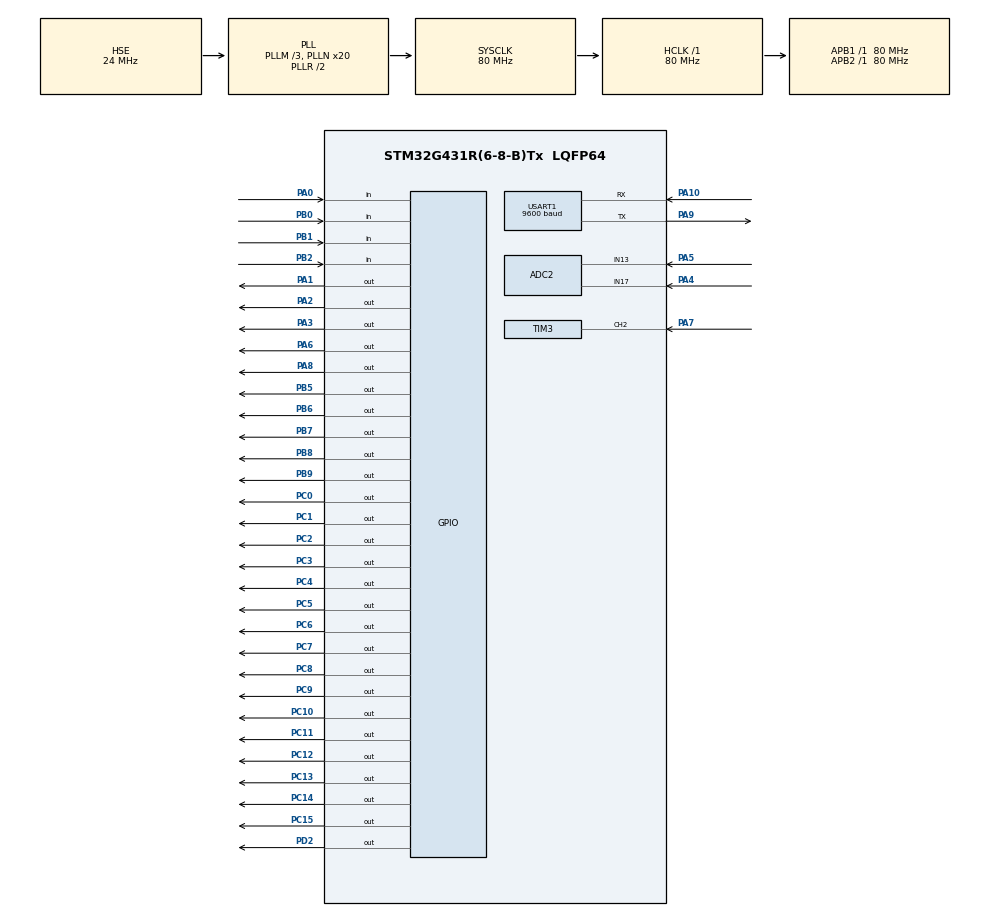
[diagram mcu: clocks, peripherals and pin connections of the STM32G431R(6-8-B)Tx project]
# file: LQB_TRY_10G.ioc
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ADC2.Channel-0\#ChannelRegularConversion=ADC_CHANNEL_17
ADC2.Channel-1\#ChannelRegularConversion=ADC_CHANNEL_13
ADC2.NbrOfConversion=2
ADC2.NbrOfConversionFlag=1
ADC2.OffsetNumber-0\#ChannelRegularConversion=ADC_OFFSET_NONE
ADC2.OffsetNumber-1\#ChannelRegularConversion=ADC_OFFSET_NONE
ADC2.Rank-0\#ChannelRegularConversion=1
ADC2.Rank-1\#ChannelRegularConversion=2
ADC2.SamplingTime-0\#ChannelRegularConversion=ADC_SAMPLETIME_640CYCLES_5
ADC2.SamplingTime-1\#ChannelRegularConversion=ADC_SAMPLETIME_640CYCLES_5
Dma.Request0=USART1_RX
Dma.USART1_RX.0.Direction=DMA_PERIPH_TO_MEMORY
Dma.USART1_RX.0.EventEnable=DISABLE
Dma.USART1_RX.0.Instance=DMA1_Channel1
Dma.USART1_RX.0.MemDataAlignment=DMA_MDATAALIGN_BYTE
Dma.USART1_RX.0.MemInc=DMA_MINC_ENABLE
Dma.USART1_RX.0.Mode=DMA_CIRCULAR
Dma.USART1_RX.0.PeriphDataAlignment=DMA_PDATAALIGN_BYTE
Dma.USART1_RX.0.PeriphInc=DMA_PINC_DISABLE
Dma.USART1_RX.0.Polarity=HAL_DMAMUX_REQ_GEN_RISING
Dma.USART1_RX.0.Priority=DMA_PRIORITY_LOW
Dma.USART1_RX.0.RequestNumber=1
Dma.USART1_RX.0.SignalID=NONE
Dma.USART1_RX.0.SyncEnable=DISABLE
Dma.USART1_RX.0.SyncPolarity=HAL_DMAMUX_SYNC_NO_EVENT
Dma.USART1_RX.0.SyncRequestNumber=1
Dma.USART1_RX.0.SyncSignalID=NONE
Mcu.Family=STM32G4
Mcu.Name=STM32G431R(6-8-B)Tx
Mcu.Package=LQFP64
NVIC.DMA1_Channel1_IRQn=true\:0\:0\:false\:false\:true\:false\:true
NVIC.PriorityGroup=NVIC_PRIORITYGROUP_4
NVIC.TIM3_IRQn=true\:0\:0\:false\:false\:true\:true\:true
NVIC.TIM6_DAC_IRQn=true\:0\:0\:false\:false\:true\:true\:true
NVIC.USART1_IRQn=true\:0\:0\:false\:false\:true\:true\:true
PA0.GPIO_Mode=GPIO_MODE_INPUT
PA0.GPIO_PuPd=GPIO_PULLUP
PA0.Signal=GPIO_Input
PA1.Signal=GPIO_Output
PA10.Mode=Asynchronous
PA10.Signal=USART1_RX
PA13.Mode=Serial_Wire
PA13.Signal=SYS_JTMS-SWDIO
PA14.Mode=Serial_Wire
PA14.Signal=SYS_JTCK-SWCLK
PA2.Signal=GPIO_Output
PA3.Signal=GPIO_Output
PA4.Mode=IN17-Single-Ended
PA4.Signal=ADC2_IN17
PA5.Mode=IN13-Single-Ended
PA5.Signal=ADC2_IN13
PA6.Signal=GPIO_Output
PA7.Signal=S_TIM3_CH2
PA8.Signal=GPIO_Output
PA9.Mode=Asynchronous
PA9.Signal=USART1_TX
PB0.GPIO_Mode=GPIO_MODE_INPUT
PB0.GPIO_PuPd=GPIO_PULLUP
PB0.Signal=GPIO_Input
PB1.GPIO_Mode=GPIO_MODE_INPUT
PB1.GPIO_PuPd=GPIO_PULLUP
PB1.Signal=GPIO_Input
PB2.GPIO_Mode=GPIO_MODE_INPUT
PB2.GPIO_PuPd=GPIO_PULLUP
PB2.Signal=GPIO_Input
PB5.Signal=GPIO_Output
PB6.Signal=GPIO_Output
PB7.Signal=GPIO_Output
PB8-BOOT0.Signal=GPIO_Output
PB9.Signal=GPIO_Output
PC0.Signal=GPIO_Output
PC1.Signal=GPIO_Output
PC10.Signal=GPIO_Output
PC11.Signal=GPIO_Output
PC12.Signal=GPIO_Output
PC13.Signal=GPIO_Output
PC14-OSC32_IN.Signal=GPIO_Output
PC15-OSC32_OUT.Signal=GPIO_Output
PC2.Signal=GPIO_Output
PC3.Signal=GPIO_Output
PC4.Signal=GPIO_Output
PC5.Signal=GPIO_Output
PC6.Signal=GPIO_Output
PC7.Signal=GPIO_Output
PC8.Signal=GPIO_Output
PC9.Signal=GPIO_Output
PD2.Signal=GPIO_Output
PF0-OSC_IN.Mode=HSE-External-Oscillator
PF0-OSC_IN.Signal=RCC_OSC_IN
PF1-OSC_OUT.Mode=HSE-External-Oscillator
PF1-OSC_OUT.Signal=RCC_OSC_OUT
ProjectManager.HeapSize=0x200
ProjectManager.StackSize=0x400
ProjectManager.TargetToolchain=MDK-ARM V5
RCC.ADC12Freq_Value=80000000
RCC.AHBFreq_Value=80000000
RCC.APB1Freq_Value=80000000
RCC.APB1TimFreq_Value=80000000
RCC.APB2Freq_Value=80000000
RCC.APB2TimFreq_Value=80000000
RCC.CortexFreq_Value=80000000
RCC.EXTERNAL_CLOCK_VALUE=12288000
RCC.HCLKFreq_Value=80000000
RCC.HSE_VALUE=24000000
RCC.HSI48_VALUE=48000000
RCC.HSI_VALUE=16000000
RCC.LSE_VALUE=32768
RCC.PLLM=RCC_PLLM_DIV3
RCC.PLLN=20
RCC.PLLSourceVirtual=RCC_PLLSOURCE_HSE
RCC.SYSCLKFreq_VALUE=80000000
RCC.SYSCLKSource=RCC_SYSCLKSOURCE_PLLCLK
RCC.USBFreq_Value=80000000
RCC.VCOOutputFreq_Value=160000000
SH.S_TIM3_CH2.0=TIM3_CH2,Input_Capture2_from_TI2
SH.S_TIM3_CH2.1=TIM3_CH2,Input_Capture1_from_TI2
TIM3.Channel-Input_Capture1_from_TI2=TIM_CHANNEL_1
TIM3.Channel-Input_Capture2_from_TI2=TIM_CHANNEL_2
TIM3.ICPolarity_CH1=TIM_INPUTCHANNELPOLARITY_FALLING
TIM3.Prescaler=79
TIM6.PeriodNoDither=999
TIM6.Prescaler=799
USART1.BaudRate=9600
USART1.VirtualMode-Asynchronous=VM_ASYNC
VP_SYS_VS_DBSignals.Mode=DisableDeadBatterySignals
VP_TIM3_VS_ClockSourceINT.Mode=Internal
VP_TIM6_VS_ClockSourceINT.Mode=Enable_Timer
board=custom

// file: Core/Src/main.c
/* USER CODE BEGIN Header */
/**
  ******************************************************************************
  * @file           : main.c
  * @brief          : Main program body
  ******************************************************************************
  * @attention
  *
  * <h2><center>&copy; Copyright (c) 2023 STMicroelectronics.
  * All rights reserved.</center></h2>
  *
  * This software component is licensed by ST under BSD 3-Clause license,
  * the "License"; You may not use this file except in compliance with the
  * License. You may obtain a copy of the License at:
  *                        opensource.org/licenses/BSD-3-Clause
  *
  ******************************************************************************
  */
/* USER CODE END Header */
#include "main.h"
#include "adc.h"
#include "dma.h"
#include "tim.h"
#include "usart.h"
#include "gpio.h"

/* USER CODE BEGIN Includes */
#include "i2c_hal.h"
#include "lcd.h"
#include "ds18b20.h"
/* USER CODE END Includes */

/* USER CODE BEGIN PTD */
typedef struct
{
	bool key_sta,single_sta,long_sta;
	unsigned char judge_sta,time_sta;
}keys;
/* USER CODE END PTD */

/* USER CODE BEGIN PV */
keys key[4] = { 0 };
double val_a=0,val_b=0,adc[2]={0},temp=0;
bool page=0,line=0,leds_flag=0,temp_flag=0,tl_flag=0,uart_flag=0;
unsigned char duty=0,T=30,AO=0,stime=0,leds_time=0,judge[2]={0},t_time=0,uart_time=0;
char text[30],text1[20],text2[100];
uint16_t times=0;
unsigned char num[11] = {0x3f, 0x06, 0x5b, 0x4f, 0x66, 0x6d, 0x7d, 0x07, 0x7f, 0x6f, 0x00};
/* USER CODE END PV */

void SystemClock_Config(void);
/* USER CODE BEGIN PFP */
void LCD_Proc(void);
void KEY_Proc(void);
void ADCValue(void);
void LED_Proc(unsigned char led,unsigned char sta);
void LEDS_Proc(void);
/* USER CODE END PFP */

int main(void)
{

  /* MCU Configuration--------------------------------------------------------*/

  /* Reset of all peripherals, Initializes the Flash interface and the Systick. */
  HAL_Init();

  /* Configure the system clock */
  SystemClock_Config();

  /* Initialize all configured peripherals */
  MX_GPIO_Init();
  MX_DMA_Init();
  MX_ADC2_Init();
  MX_TIM3_Init();
  MX_TIM6_Init();
  MX_USART1_UART_Init();
  /* USER CODE BEGIN 2 */
	//TIM6_INIT
	HAL_TIM_Base_Start_IT(&htim6);
	//TIM3_INIT
	HAL_TIM_IC_Start_IT(&htim3,TIM_CHANNEL_1);
	HAL_TIM_IC_Start_IT(&htim3,TIM_CHANNEL_2);
	//ADC_INIT
	HAL_ADCEx_Calibration_Start(&hadc2,ADC_SINGLE_ENDED);
	//LCD_INIT
	LCD_Init();
	LCD_Clear(White);
	LCD_SetBackColor(White);
	LCD_SetTextColor(Black);
	//ds18b20_init
	ds18b20_init_x();
	//LED_INIT
	LED_Proc(1,0);
	//DATA_Init
	I2CInit();
	judge[0] = T ;
	judge[1] = AO;
	times = (eeprom_read(0) << 8) | eeprom_read(1);
	if(times >= 65535) times = 0;
	//UART_DMA_INIT
	HAL_UART_Receive_DMA(&huart1,(u8 *)text2,100);
	__HAL_UART_ENABLE_IT(&huart1,UART_IT_IDLE);
  /* USER CODE END 2 */

  /* Infinite loop */
  /* USER CODE BEGIN WHILE */
  while (1)
  {
		LCD_Proc();
		KEY_Proc();
		//达到上报条件标记
		if(adc[AO]/4095 > (double)duty/100)
		{
			LED_Proc(1,1);
			uart_flag = 1;
		}
		else
		{
			LED_Proc(1,0);
			uart_flag = 0;
			uart_time = 0;
		}
		//达到温度上限标记
		if(temp > T) temp_flag = 1;
		else
		{
			temp_flag = 0;
			t_time = 0;
			LED_Proc(8,0);
		}
    /* USER CODE END WHILE */

  }
}

void SystemClock_Config(void)
{
  RCC_OscInitTypeDef RCC_OscInitStruct = {0};
  RCC_ClkInitTypeDef RCC_ClkInitStruct = {0};
  RCC_PeriphCLKInitTypeDef PeriphClkInit = {0};

  /** Configure the main internal regulator output voltage
  */
  HAL_PWREx_ControlVoltageScaling(PWR_REGULATOR_VOLTAGE_SCALE1);
  /** Initializes the RCC Oscillators according to the specified parameters
  * in the RCC_OscInitTypeDef structure.
  */
  RCC_OscInitStruct.OscillatorType = RCC_OSCILLATORTYPE_HSE;
  RCC_OscInitStruct.HSEState = RCC_HSE_ON;
  RCC_OscInitStruct.PLL.PLLState = RCC_PLL_ON;
  RCC_OscInitStruct.PLL.PLLSource = RCC_PLLSOURCE_HSE;
  RCC_OscInitStruct.PLL.PLLM = RCC_PLLM_DIV3;
  RCC_OscInitStruct.PLL.PLLN = 20;
  RCC_OscInitStruct.PLL.PLLP = RCC_PLLP_DIV2;
  RCC_OscInitStruct.PLL.PLLQ = RCC_PLLQ_DIV2;
  RCC_OscInitStruct.PLL.PLLR = RCC_PLLR_DIV2;
  if (HAL_RCC_OscConfig(&RCC_OscInitStruct) != HAL_OK)
  {
    Error_Handler();
  }
  /** Initializes the CPU, AHB and APB buses clocks
  */
  RCC_ClkInitStruct.ClockType = RCC_CLOCKTYPE_HCLK|RCC_CLOCKTYPE_SYSCLK
                              |RCC_CLOCKTYPE_PCLK1|RCC_CLOCKTYPE_PCLK2;
  RCC_ClkInitStruct.SYSCLKSource = RCC_SYSCLKSOURCE_PLLCLK;
  RCC_ClkInitStruct.AHBCLKDivider = RCC_SYSCLK_DIV1;
  RCC_ClkInitStruct.APB1CLKDivider = RCC_HCLK_DIV1;
  RCC_ClkInitStruct.APB2CLKDivider = RCC_HCLK_DIV1;

  if (HAL_RCC_ClockConfig(&RCC_ClkInitStruct, FLASH_LATENCY_2) != HAL_OK)
  {
    Error_Handler();
  }
  /** Initializes the peripherals clocks
  */
  PeriphClkInit.PeriphClockSelection = RCC_PERIPHCLK_USART1|RCC_PERIPHCLK_ADC12;
  PeriphClkInit.Usart1ClockSelection = RCC_USART1CLKSOURCE_PCLK2;
  PeriphClkInit.Adc12ClockSelection = RCC_ADC12CLKSOURCE_SYSCLK;
  if (HAL_RCCEx_PeriphCLKConfig(&PeriphClkInit) != HAL_OK)
  {
    Error_Handler();
  }
}

/* USER CODE BEGIN 4 */
/*****************************************************************************
*定时器中断，0.01s进入一次：按键部分
*KEY
*****************************************************************************/
void HAL_TIM_PeriodElapsedCallback(TIM_HandleTypeDef *htim)
{
	if(htim->Instance == TIM6)
	{
		//采样部分
		stime++;
		if(stime >= 25)
		{
			stime = 0;
			ADCValue();
			temp = Read_temperature();
		}
		//数码管交替显示部分
		leds_time++;
		if(leds_time >= 200)
		{
			leds_flag = 1 - leds_flag;
			LEDS_Proc();
			leds_time = 0;
		}
		//LED闪烁部分
		if(temp_flag == 1)
		{
			t_time++;
			if(t_time >= 20)
			{
				tl_flag = 1 - tl_flag;
				LED_Proc(8,tl_flag);
				t_time = 0;
			}
		}
		//串口数据发送部分
		if(uart_flag == 1)
		{
			uart_time++;
			if(uart_time >= 100)
			{
				uart_time = 0;
				sprintf(text1,"$%.2f\r\n",temp);
				HAL_UART_Transmit(&huart1,(u8 *)text1,strlen(text1),50);
			}
		}

		key[0].key_sta = HAL_GPIO_ReadPin(GPIOB,GPIO_PIN_0);
		key[1].key_sta = HAL_GPIO_ReadPin(GPIOB,GPIO_PIN_1);
		key[2].key_sta = HAL_GPIO_ReadPin(GPIOB,GPIO_PIN_2);
		key[3].key_sta = HAL_GPIO_ReadPin(GPIOA,GPIO_PIN_0);
		for(int i=0;i<4;i++)
		{
			switch(key[i].judge_sta)
			{
				case 0:
				{
					if(key[i].key_sta == 0) key[i].judge_sta = 1;
				}
				break;
				case 1:
				{
					if(key[i].key_sta == 0) key[i].judge_sta = 2;
					else key[i].judge_sta = 0;
				}
				break;
				case 2:
				{
					key[i].time_sta++;
					if(key[i].key_sta == 1 && key[i].time_sta <= 80)
					{
						key[i].judge_sta = 0;
						key[i].time_sta = 0;
						key[i].single_sta = 1;
					}
					else if(key[i].time_sta > 80) key[i].judge_sta = 3;
				}
				break;
				case 3:
				{
					key[i].time_sta++;
					if(key[i].key_sta == 0 && key[i].time_sta >= 10)
					{
						key[i].time_sta = 0;
						key[i].long_sta = 1;
					}
					else if(key[i].key_sta == 1)
					{
						key[i].judge_sta = 0;
						key[i].time_sta = 0;
					}
				}
				break;
			}
		}
	}
}
/*****************************************************************************
*脉冲捕捉
*puls
*****************************************************************************/
void HAL_TIM_IC_CaptureCallback(TIM_HandleTypeDef *htim)
{

	if(htim->Instance == TIM3)
	{
		if(htim->Channel == HAL_TIM_ACTIVE_CHANNEL_2)
		{
			val_a = HAL_TIM_ReadCapturedValue(&htim3,TIM_CHANNEL_1);
			val_b = HAL_TIM_ReadCapturedValue(&htim3,TIM_CHANNEL_2);
			__HAL_TIM_SetCounter(&htim3,0);
			duty = (unsigned char)(val_a/val_b*100)>100?duty:(unsigned char)(val_a/val_b*100);
			HAL_TIM_IC_Start(&htim3,TIM_CHANNEL_1);
			HAL_TIM_IC_Start(&htim3,TIM_CHANNEL_2);
		}
	}
}
/*****************************************************************************
*ADC读值
*ADC
*****************************************************************************/
void ADCValue(void)
{
	HAL_ADC_Start(&hadc2);
	adc[0] = HAL_ADC_GetValue(&hadc2);
	HAL_ADC_Start(&hadc2);
	adc[1] = HAL_ADC_GetValue(&hadc2);
}
/*****************************************************************************
*按键操作函数
*KEY
*****************************************************************************/
void KEY_Proc(void)
{
	if(key[0].single_sta == 1)
	{
		page = page == 0?1:0;
		if(page == 0)
		{
			if(judge[0] != T || judge[1] != AO)
			{
				times++;
				eeprom_write(0,times>>8);
				HAL_Delay(10);
				eeprom_write(1,times&0x00ff);
				HAL_Delay(10);
				judge[0] = T ;
				judge[1] = AO;
			}
		}
		key[0].single_sta = 0;
	}
	if(key[1].single_sta == 1)
	{
		if(page == 1) line = line == 0?1:0;
		key[1].single_sta = 0;
	}
	if(key[2].single_sta == 1)
	{
		if(page == 1)
		{
			if(line == 0) T = T >= 40?40:T+1;
			else AO = AO == 0?1:0;
		}
		key[2].single_sta = 0;
	}
	if(key[3].single_sta == 1)
	{
		if(page == 1)
		{
			if(line == 0) T = T <= 20?20:T-1;
			else AO = AO == 0?1:0;
		}
		key[3].single_sta = 0;
	}
	if(key[2].long_sta == 1)
	{
		if(page == 1) if(line == 0) T = T >= 40?40:T+1;
		key[2].long_sta = 0;
	}
	if(key[3].long_sta == 1)
	{
		if(page == 1) if(line == 0) T = T <= 20?20:T-1;
		key[3].long_sta = 0;
	}
}
/*****************************************************************************
*LCD显示功能
*LCD
*****************************************************************************/
void LCD_Proc(void)
{
	if(page == 0)
	{
		LCD_DisplayStringLine(Line1,(u8 *)"        Main        ");

		sprintf(text,"    AO1:%1.2fV            ",adc[0]/4095*3.3);
		LCD_DisplayStringLine(Line2,(u8 *)text);
		sprintf(text,"    AO2:%1.2fV            ",adc[1]/4095*3.3);
		LCD_DisplayStringLine(Line3,(u8 *)text);
		sprintf(text,"    PWM2:%d%%   ",duty);
		LCD_DisplayStringLine(Line4,(u8 *)text);
		sprintf(text,"    Temp:%.2f   ",temp);
		LCD_DisplayStringLine(Line5,(u8 *)text);
		sprintf(text,"    N:%d   ",times);
		LCD_DisplayStringLine(Line6,(u8 *)text);
	}
	else if(page == 1)
	{
		LCD_DisplayStringLine(Line1,(u8 *)"        Para        ");

		if(line == 0) LCD_SetBackColor(Yellow);
		sprintf(text,"    T:%d              ",T);
		LCD_DisplayStringLine(Line2,(u8 *)text);
		LCD_SetBackColor(White);

		if(line == 1) LCD_SetBackColor(Yellow);
		sprintf(text,"    X:AO%d            ",AO+1);
		LCD_DisplayStringLine(Line3,(u8 *)text);
		LCD_SetBackColor(White);

		LCD_DisplayStringLine(Line4,(u8 *)"              ");
		LCD_DisplayStringLine(Line5,(u8 *)"              ");
		LCD_DisplayStringLine(Line6,(u8 *)"              ");
	}
	else page = 0;
}
/*****************************************************************************
*LED显示功能
*LED
*****************************************************************************/
void LED_Proc(unsigned char led,unsigned char sta)
{
	static unsigned char LED_STA = 0xff;
	if(sta == 0) LED_STA |= (0x01 << (led-1));
	else if(sta == 1) LED_STA &= ~(0x01 << (led-1));

	GPIOC->ODR = LED_STA << 8;
	HAL_GPIO_WritePin(GPIOD,GPIO_PIN_2,GPIO_PIN_SET);
	HAL_GPIO_WritePin(GPIOD,GPIO_PIN_2,GPIO_PIN_RESET);
}
/*****************************************************************************
*数码管显示功能
*LEDS
*num[11] = {0x3f, 0x06, 0x5b, 0x4f, 0x66, 0x6d, 0x7d, 0x07, 0x7f, 0x6f, 0x00};
*****************************************************************************/
void LEDS_Proc(void)
{
	int data=T,tep=0;

	if(leds_flag == 0)
	{
		HAL_GPIO_WritePin(GPIOA,GPIO_PIN_2,GPIO_PIN_RESET);
		for(int k=0;k<2;k++)
		{
			tep = num[data%10];
			data /= 10;
			for(int j=0;j<8;j++)
			{
				HAL_GPIO_WritePin(GPIOA,GPIO_PIN_3,GPIO_PIN_RESET);
				if(tep & 0x80) HAL_GPIO_WritePin(GPIOA,GPIO_PIN_1,GPIO_PIN_SET);
				else HAL_GPIO_WritePin(GPIOA,GPIO_PIN_1,GPIO_PIN_RESET);
				HAL_GPIO_WritePin(GPIOA,GPIO_PIN_3,GPIO_PIN_SET);
				tep = tep << 1;
			}
		}
		tep = 0x39;
		for(int j=0;j<8;j++)
		{
			HAL_GPIO_WritePin(GPIOA,GPIO_PIN_3,GPIO_PIN_RESET);
			if(tep & 0x80) HAL_GPIO_WritePin(GPIOA,GPIO_PIN_1,GPIO_PIN_SET);
			else HAL_GPIO_WritePin(GPIOA,GPIO_PIN_1,GPIO_PIN_RESET);
			HAL_GPIO_WritePin(GPIOA,GPIO_PIN_3,GPIO_PIN_SET);
			tep = tep << 1;
		}
		HAL_GPIO_WritePin(GPIOA,GPIO_PIN_2,GPIO_PIN_SET);
	}
	else if(leds_flag == 1)
	{
		data = AO+1;
		HAL_GPIO_WritePin(GPIOA,GPIO_PIN_2,GPIO_PIN_RESET);
		for(int k=0;k<2;k++)
		{
			tep = num[data];
			data /= 10;
			for(int j=0;j<8;j++)
			{
				HAL_GPIO_WritePin(GPIOA,GPIO_PIN_3,GPIO_PIN_RESET);
				if(tep & 0x80) HAL_GPIO_WritePin(GPIOA,GPIO_PIN_1,GPIO_PIN_SET);
				else HAL_GPIO_WritePin(GPIOA,GPIO_PIN_1,GPIO_PIN_RESET);
				HAL_GPIO_WritePin(GPIOA,GPIO_PIN_3,GPIO_PIN_SET);
				tep = tep << 1;
			}
		}
		tep = 0x77;
		for(int j=0;j<8;j++)
		{
			HAL_GPIO_WritePin(GPIOA,GPIO_PIN_3,GPIO_PIN_RESET);
			if(tep & 0x80) HAL_GPIO_WritePin(GPIOA,GPIO_PIN_1,GPIO_PIN_SET);
			else HAL_GPIO_WritePin(GPIOA,GPIO_PIN_1,GPIO_PIN_RESET);
			HAL_GPIO_WritePin(GPIOA,GPIO_PIN_3,GPIO_PIN_SET);
			tep = tep << 1;
		}
		HAL_GPIO_WritePin(GPIOA,GPIO_PIN_2,GPIO_PIN_SET);
	}
	else leds_flag = 0;
}

/* USER CODE END 4 */

void Error_Handler(void)
{
  __disable_irq();
  while (1)
  {
  }
}

/************************ (C) COPYRIGHT STMicroelectronics *****END OF FILE****/
